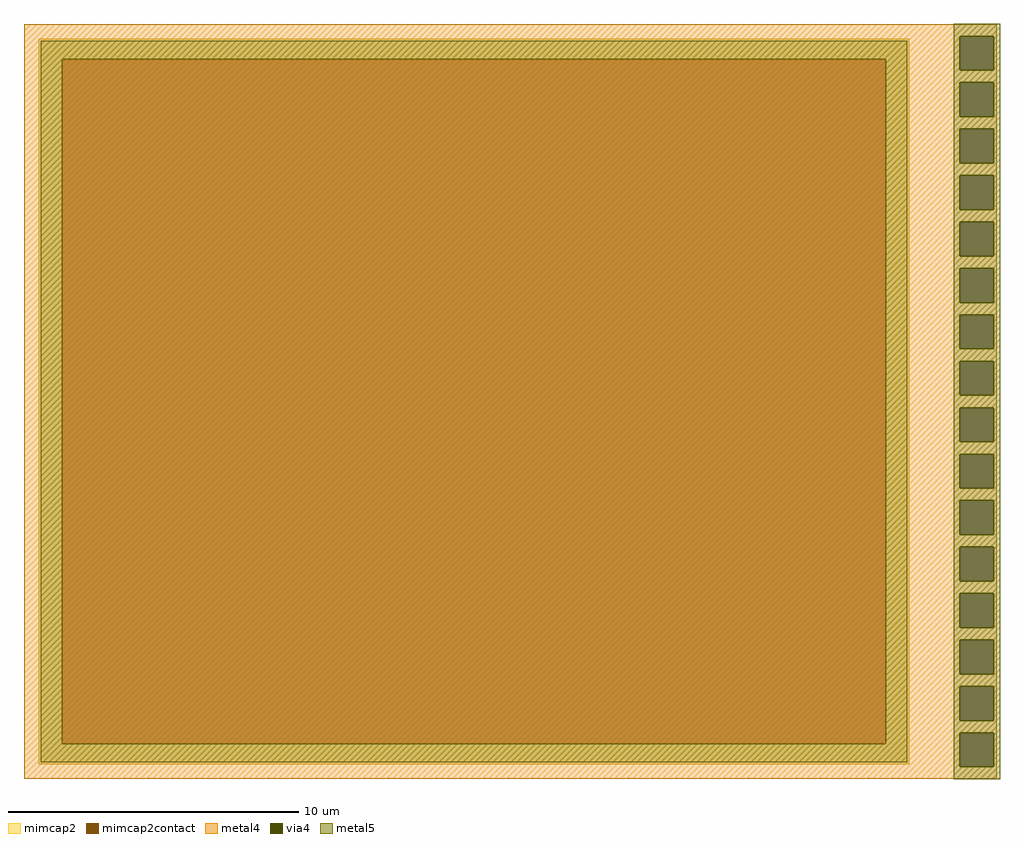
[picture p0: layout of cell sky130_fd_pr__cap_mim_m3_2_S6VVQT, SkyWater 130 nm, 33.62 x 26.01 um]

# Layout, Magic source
magic
tech sky130A
magscale 1 2
<< metal4 >>
rect -3351 2518 3351 2600
rect -3351 2282 3095 2518
rect 3331 2282 3351 2518
rect -3351 2198 3351 2282
rect -3351 1962 3095 2198
rect 3331 1962 3351 2198
rect -3351 1878 3351 1962
rect -3351 1642 3095 1878
rect 3331 1642 3351 1878
rect -3351 1558 3351 1642
rect -3351 1322 3095 1558
rect 3331 1322 3351 1558
rect -3351 1238 3351 1322
rect -3351 1002 3095 1238
rect 3331 1002 3351 1238
rect -3351 918 3351 1002
rect -3351 682 3095 918
rect 3331 682 3351 918
rect -3351 598 3351 682
rect -3351 362 3095 598
rect 3331 362 3351 598
rect -3351 278 3351 362
rect -3351 42 3095 278
rect 3331 42 3351 278
rect -3351 -42 3351 42
rect -3351 -278 3095 -42
rect 3331 -278 3351 -42
rect -3351 -362 3351 -278
rect -3351 -598 3095 -362
rect 3331 -598 3351 -362
rect -3351 -682 3351 -598
rect -3351 -918 3095 -682
rect 3331 -918 3351 -682
rect -3351 -1002 3351 -918
rect -3351 -1238 3095 -1002
rect 3331 -1238 3351 -1002
rect -3351 -1322 3351 -1238
rect -3351 -1558 3095 -1322
rect 3331 -1558 3351 -1322
rect -3351 -1642 3351 -1558
rect -3351 -1878 3095 -1642
rect 3331 -1878 3351 -1642
rect -3351 -1962 3351 -1878
rect -3351 -2198 3095 -1962
rect 3331 -2198 3351 -1962
rect -3351 -2282 3351 -2198
rect -3351 -2518 3095 -2282
rect 3331 -2518 3351 -2282
rect -3351 -2600 3351 -2518
<< via4 >>
rect 3095 2282 3331 2518
rect 3095 1962 3331 2198
rect 3095 1642 3331 1878
rect 3095 1322 3331 1558
rect 3095 1002 3331 1238
rect 3095 682 3331 918
rect 3095 362 3331 598
rect 3095 42 3331 278
rect 3095 -278 3331 -42
rect 3095 -598 3331 -362
rect 3095 -918 3331 -682
rect 3095 -1238 3331 -1002
rect 3095 -1558 3331 -1322
rect 3095 -1878 3331 -1642
rect 3095 -2198 3331 -1962
rect 3095 -2518 3331 -2282
<< mimcap2 >>
rect -3251 2358 2749 2500
rect -3251 -2358 -3089 2358
rect 2587 -2358 2749 2358
rect -3251 -2500 2749 -2358
<< mimcap2contact >>
rect -3089 -2358 2587 2358
<< metal5 >>
rect 3053 2518 3373 2601
rect -3235 2358 2733 2484
rect -3235 -2358 -3089 2358
rect 2587 -2358 2733 2358
rect -3235 -2484 2733 -2358
rect 3053 2282 3095 2518
rect 3331 2282 3373 2518
rect 3053 2198 3373 2282
rect 3053 1962 3095 2198
rect 3331 1962 3373 2198
rect 3053 1878 3373 1962
rect 3053 1642 3095 1878
rect 3331 1642 3373 1878
rect 3053 1558 3373 1642
rect 3053 1322 3095 1558
rect 3331 1322 3373 1558
rect 3053 1238 3373 1322
rect 3053 1002 3095 1238
rect 3331 1002 3373 1238
rect 3053 918 3373 1002
rect 3053 682 3095 918
rect 3331 682 3373 918
rect 3053 598 3373 682
rect 3053 362 3095 598
rect 3331 362 3373 598
rect 3053 278 3373 362
rect 3053 42 3095 278
rect 3331 42 3373 278
rect 3053 -42 3373 42
rect 3053 -278 3095 -42
rect 3331 -278 3373 -42
rect 3053 -362 3373 -278
rect 3053 -598 3095 -362
rect 3331 -598 3373 -362
rect 3053 -682 3373 -598
rect 3053 -918 3095 -682
rect 3331 -918 3373 -682
rect 3053 -1002 3373 -918
rect 3053 -1238 3095 -1002
rect 3331 -1238 3373 -1002
rect 3053 -1322 3373 -1238
rect 3053 -1558 3095 -1322
rect 3331 -1558 3373 -1322
rect 3053 -1642 3373 -1558
rect 3053 -1878 3095 -1642
rect 3331 -1878 3373 -1642
rect 3053 -1962 3373 -1878
rect 3053 -2198 3095 -1962
rect 3331 -2198 3373 -1962
rect 3053 -2282 3373 -2198
rect 3053 -2518 3095 -2282
rect 3331 -2518 3373 -2282
rect 3053 -2601 3373 -2518
<< properties >>
string FIXED_BBOX -3351 -2600 2849 2600
<< end >>
